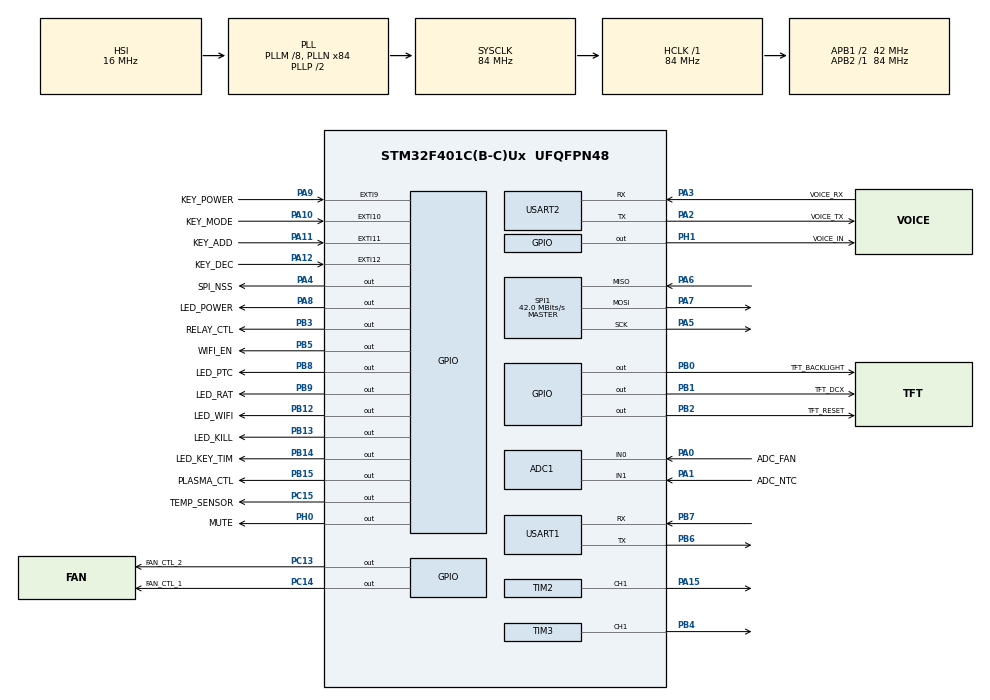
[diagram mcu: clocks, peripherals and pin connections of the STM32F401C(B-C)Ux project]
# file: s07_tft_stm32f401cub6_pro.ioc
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ADC1.Channel-0\#ChannelRegularConversion=ADC_CHANNEL_0
ADC1.NbrOfConversionFlag=1
ADC1.Rank-0\#ChannelRegularConversion=1
ADC1.SamplingTime-0\#ChannelRegularConversion=ADC_SAMPLETIME_3CYCLES
ADC1.master=1
Dma.Request0=SPI1_RX
Dma.Request1=SPI1_TX
Dma.SPI1_RX.0.Direction=DMA_PERIPH_TO_MEMORY
Dma.SPI1_RX.0.FIFOMode=DMA_FIFOMODE_DISABLE
Dma.SPI1_RX.0.Instance=DMA2_Stream0
Dma.SPI1_RX.0.MemDataAlignment=DMA_MDATAALIGN_BYTE
Dma.SPI1_RX.0.MemInc=DMA_MINC_ENABLE
Dma.SPI1_RX.0.Mode=DMA_NORMAL
Dma.SPI1_RX.0.PeriphDataAlignment=DMA_PDATAALIGN_BYTE
Dma.SPI1_RX.0.PeriphInc=DMA_PINC_DISABLE
Dma.SPI1_RX.0.Priority=DMA_PRIORITY_LOW
Dma.SPI1_TX.1.Direction=DMA_MEMORY_TO_PERIPH
Dma.SPI1_TX.1.FIFOMode=DMA_FIFOMODE_DISABLE
Dma.SPI1_TX.1.Instance=DMA2_Stream3
Dma.SPI1_TX.1.MemDataAlignment=DMA_MDATAALIGN_BYTE
Dma.SPI1_TX.1.MemInc=DMA_MINC_ENABLE
Dma.SPI1_TX.1.Mode=DMA_NORMAL
Dma.SPI1_TX.1.PeriphDataAlignment=DMA_PDATAALIGN_BYTE
Dma.SPI1_TX.1.PeriphInc=DMA_PINC_DISABLE
Dma.SPI1_TX.1.Priority=DMA_PRIORITY_LOW
IWDG.Prescaler=IWDG_PRESCALER_256
Mcu.Family=STM32F4
Mcu.Name=STM32F401C(B-C)Ux
Mcu.Package=UFQFPN48
NVIC.DMA2_Stream0_IRQn=true\:0\:0\:false\:false\:true\:false\:true\:true
NVIC.DMA2_Stream3_IRQn=true\:0\:0\:false\:false\:true\:false\:true\:true
NVIC.EXTI15_10_IRQn=true\:0\:0\:false\:false\:true\:true\:true\:true
NVIC.EXTI9_5_IRQn=true\:0\:0\:false\:false\:true\:true\:true\:true
NVIC.PriorityGroup=NVIC_PRIORITYGROUP_4
NVIC.TIM1_UP_TIM10_IRQn=true\:0\:0\:false\:false\:true\:true\:true\:true
NVIC.USART1_IRQn=true\:0\:0\:false\:false\:true\:true\:true\:true
NVIC.USART2_IRQn=true\:0\:0\:false\:false\:true\:true\:true\:true
PA0-WKUP.GPIO_Label=ADC_FAN
PA0-WKUP.Signal=ADCx_IN0
PA1.GPIO_Label=ADC_NTC
PA1.Signal=ADCx_IN1
PA10.GPIO_Label=KEY_MODE
PA10.GPIO_ModeDefaultEXTI=GPIO_MODE_IT_FALLING
PA10.Signal=GPXTI10
PA11.GPIO_Label=KEY_ADD
PA11.Signal=GPXTI11
PA12.GPIO_Label=KEY_DEC
PA12.Signal=GPXTI12
PA13.Signal=SYS_JTMS-SWDIO
PA14.Signal=SYS_JTCK-SWCLK
PA15.Signal=S_TIM2_CH1_ETR
PA2.GPIO_Label=VOICE_TX
PA2.Mode=Asynchronous
PA2.Signal=USART2_TX
PA3.GPIO_Label=VOICE_RX
PA3.Mode=Asynchronous
PA3.Signal=USART2_RX
PA4.GPIO_Label=SPI_NSS
PA4.Signal=GPIO_Output
PA5.Mode=Full_Duplex_Master
PA5.Signal=SPI1_SCK
PA6.Mode=Full_Duplex_Master
PA6.Signal=SPI1_MISO
PA7.Mode=Full_Duplex_Master
PA7.Signal=SPI1_MOSI
PA8.GPIO_Label=LED_POWER
PA8.Signal=GPIO_Output
PA9.GPIO_Label=KEY_POWER
PA9.GPIO_ModeDefaultEXTI=GPIO_MODE_IT_FALLING
PA9.Signal=GPXTI9
PB0.GPIO_Label=TFT_BACKLIGHT
PB0.Signal=GPIO_Output
PB1.GPIO_Label=TFT_DCX
PB1.Signal=GPIO_Output
PB12.GPIO_Label=LED_WIFI
PB12.Signal=GPIO_Output
PB13.GPIO_Label=LED_KILL
PB13.Signal=GPIO_Output
PB14.GPIO_Label=LED_KEY_TIM
PB14.Signal=GPIO_Output
PB15.GPIO_Label=PLASMA_CTL
PB15.Signal=GPIO_Output
PB2.GPIO_Label=TFT_RESET
PB2.Signal=GPIO_Output
PB3.GPIO_Label=RELAY_CTL
PB3.Signal=GPIO_Output
PB4.Signal=S_TIM3_CH1
PB5.GPIO_Label=WIFI_EN
PB5.Signal=GPIO_Output
PB6.Mode=Asynchronous
PB6.Signal=USART1_TX
PB7.Mode=Asynchronous
PB7.Signal=USART1_RX
PB8.GPIO_Label=LED_PTC
PB8.Signal=GPIO_Output
PB9.GPIO_Label=LED_RAT
PB9.Signal=GPIO_Output
PC13-ANTI_TAMP.GPIO_Label=FAN_CTL_2
PC13-ANTI_TAMP.Signal=GPIO_Output
PC14-OSC32_IN.GPIO_Label=FAN_CTL_1
PC14-OSC32_IN.Signal=GPIO_Output
PC15-OSC32_OUT.GPIO_Label=TEMP_SENSOR
PC15-OSC32_OUT.Signal=GPIO_Output
PH0\ -\ OSC_IN.GPIO_Label=MUTE
PH0\ -\ OSC_IN.Signal=GPIO_Output
PH1\ -\ OSC_OUT.GPIO_Label=VOICE_IN
PH1\ -\ OSC_OUT.Signal=GPIO_Output
ProjectManager.HeapSize=0x200
ProjectManager.StackSize=0x400
ProjectManager.TargetToolchain=MDK-ARM V5.32
RCC.48MHZClocksFreq_Value=42000000
RCC.AHBFreq_Value=84000000
RCC.APB1CLKDivider=RCC_HCLK_DIV2
RCC.APB1Freq_Value=42000000
RCC.APB1TimFreq_Value=84000000
RCC.APB2Freq_Value=84000000
RCC.APB2TimFreq_Value=84000000
RCC.CortexFreq_Value=84000000
RCC.HCLKFreq_Value=84000000
RCC.HSE_VALUE=25000000
RCC.HSI_VALUE=16000000
RCC.LSE_VALUE=32768
RCC.PLLM=8
RCC.PLLN=84
RCC.SYSCLKFreq_VALUE=84000000
RCC.SYSCLKSource=RCC_SYSCLKSOURCE_PLLCLK
RCC.VCOOutputFreq_Value=168000000
SH.ADCx_IN0.0=ADC1_IN0,IN0
SH.ADCx_IN1.0=ADC1_IN1,IN1
SH.S_TIM2_CH1_ETR.0=TIM2_CH1,PWM Generation1 CH1
SH.S_TIM3_CH1.0=TIM3_CH1,PWM Generation1 CH1
SPI1.CalculateBaudRate=42.0 MBits/s
SPI1.Direction=SPI_DIRECTION_2LINES
SPI1.Mode=SPI_MODE_MASTER
SPI1.VirtualType=VM_MASTER
TIM2.Channel-PWM\ Generation1\ CH1=TIM_CHANNEL_1
TIM3.Channel-PWM\ Generation1\ CH1=TIM_CHANNEL_1
USART1.VirtualMode=VM_ASYNC
USART2.VirtualMode=VM_ASYNC
VP_IWDG_VS_IWDG.Mode=IWDG_Activate
VP_TIM10_VS_ClockSourceINT.Mode=Enable_Timer
board=custom

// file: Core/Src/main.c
/* USER CODE BEGIN Header */
/**
  ******************************************************************************
  * @file           : main.c
  * @brief          : Main program body
  ******************************************************************************
  * @attention
  *
  * S07 Version: 1.0 DATA:2024.04.19
  *
  *
  *
  *
  *
  *
  ******************************************************************************
  */
/* USER CODE END Header */
#include "main.h"
#include "adc.h"
#include "dma.h"
#include "iwdg.h"
#include "spi.h"
#include "tim.h"
#include "usart.h"
#include "gpio.h"

/* USER CODE BEGIN Includes */
#include "bsp.h"
/* USER CODE END Includes */

void SystemClock_Config(void);

int main(void)
{

  /* MCU Configuration--------------------------------------------------------*/

  /* Reset of all peripherals, Initializes the Flash interface and the Systick. */
  HAL_Init();

  /* Configure the system clock */
  SystemClock_Config();

  /* Initialize all configured peripherals */
  MX_GPIO_Init();
  MX_DMA_Init();
  MX_SPI1_Init();
  MX_TIM10_Init();
  MX_ADC1_Init();
  MX_IWDG_Init();
  MX_USART1_UART_Init();
  MX_USART2_UART_Init();
  MX_TIM2_Init();
  MX_TIM3_Init();
  /* USER CODE BEGIN 2 */
  delay_init(84);
  bsp_ctl_init();
  Wifi_Init();
  TFT_BACKLIGHT_OFF();
  TFT_LCD_Init();
  HAL_TIM_Base_Start_IT(&htim10);

  HAL_UART_Receive_IT(&huart1,wifi_t.usart1_dataBuf,1);

  HAL_UART_Receive_IT(&huart2,voice_inputBuf,1);//HAL_UART_Receive_IT(&huart1,voice_inputBuf,8);
  bsp_Init();

  /* USER CODE END 2 */

  /* Infinite loop */
  while (1)
  {

    /* USER CODE BEGIN 3 */
	bsp_Idle();

    Voice_Decoder_Handler();
	TFT_Process_Handler();
	WIFI_Process_Handler();
	USART_Cmd_Error_Handler();
  }
  /* USER CODE END 3 */
}

void SystemClock_Config(void)
{
  RCC_OscInitTypeDef RCC_OscInitStruct = {0};
  RCC_ClkInitTypeDef RCC_ClkInitStruct = {0};

  /** Configure the main internal regulator output voltage
  */
  __HAL_RCC_PWR_CLK_ENABLE();
  __HAL_PWR_VOLTAGESCALING_CONFIG(PWR_REGULATOR_VOLTAGE_SCALE2);

  /** Initializes the RCC Oscillators according to the specified parameters
  * in the RCC_OscInitTypeDef structure.
  */
  RCC_OscInitStruct.OscillatorType = RCC_OSCILLATORTYPE_HSI|RCC_OSCILLATORTYPE_LSI;
  RCC_OscInitStruct.HSIState = RCC_HSI_ON;
  RCC_OscInitStruct.HSICalibrationValue = RCC_HSICALIBRATION_DEFAULT;
  RCC_OscInitStruct.LSIState = RCC_LSI_ON;
  RCC_OscInitStruct.PLL.PLLState = RCC_PLL_ON;
  RCC_OscInitStruct.PLL.PLLSource = RCC_PLLSOURCE_HSI;
  RCC_OscInitStruct.PLL.PLLM = 8;
  RCC_OscInitStruct.PLL.PLLN = 84;
  RCC_OscInitStruct.PLL.PLLP = RCC_PLLP_DIV2;
  RCC_OscInitStruct.PLL.PLLQ = 4;
  if (HAL_RCC_OscConfig(&RCC_OscInitStruct) != HAL_OK)
  {
    Error_Handler();
  }

  /** Initializes the CPU, AHB and APB buses clocks
  */
  RCC_ClkInitStruct.ClockType = RCC_CLOCKTYPE_HCLK|RCC_CLOCKTYPE_SYSCLK
                              |RCC_CLOCKTYPE_PCLK1|RCC_CLOCKTYPE_PCLK2;
  RCC_ClkInitStruct.SYSCLKSource = RCC_SYSCLKSOURCE_PLLCLK;
  RCC_ClkInitStruct.AHBCLKDivider = RCC_SYSCLK_DIV1;
  RCC_ClkInitStruct.APB1CLKDivider = RCC_HCLK_DIV2;
  RCC_ClkInitStruct.APB2CLKDivider = RCC_HCLK_DIV1;

  if (HAL_RCC_ClockConfig(&RCC_ClkInitStruct, FLASH_LATENCY_2) != HAL_OK)
  {
    Error_Handler();
  }
}

void Error_Handler(void)
{
  __disable_irq();
  while (1)
  {
  }
}
